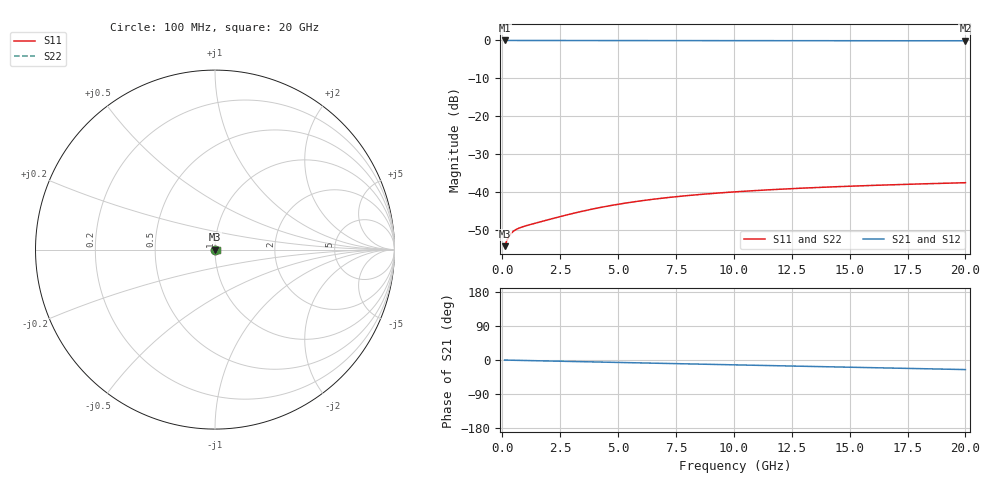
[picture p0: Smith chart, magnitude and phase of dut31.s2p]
! Touchstone file exported from HFSS 2026.1.0
!  File:  C:/ffzhzh/LocalFiles/Ansys_Project_Files/temp_train_TMRDL_31_1782880498_13352.aedt
!  Generated:  12:36:04 PM Jul  1, 2026
!  Design:  TMRDL
!  Project:  temp_train_TMRDL_31_1782880498_13352
! Variables:
!  h_bsmrdl = 2um
!  h_ox = 20um
!  h_rdl = 5um
!  h_sub = 80um
!  h_tmrdl = 3.65um
!  h_tsv = 80um
!  h_via = 3um
!  l_bsmrdl = 300um
!  l_sub = 840.71um
!  l_tmrdl = 440.71um
!  m_sub = 200um
!  pitch = 32.78um
!  r_tsv = 6um
!  s_tmrdl = 10um
!  w_bsmrdl = 18um
!  w_sub = 500um
!  w_tmrdl = 28.02um
!  x_tsv_center1 = 454.72um
!  x_tsv_center2 = 772.72um
!  x_tsv_center3 = 1241.45um
!  x_tsv_center4 = 1559.45um
!  x_tsv_center5 = 2028.18um
!  x_tsv_center6 = 2346.18um
# GHz S MA R 50.000000
! Terminal data exported
! Port[1] = TM_RDL1_1_T1
! Port[2] = TM_RDL1_1_T2
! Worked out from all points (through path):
!   200 points, 100 MHz to 20 GHz, reference 50 ohm
!   highest |S21| = -0.02 dB at 100 MHz (marker M1); lowest = -0.1 dB at 20 GHz (marker M2)
!   group delay of S21, straight-line fit = 3.5 ps
!   lowest |S11| = -54.4 dB at 100 MHz (marker M3), VSWR 1.00, Z = 50.2 + j0.0506 ohm
!   |S11| at or under -10 dB: start of sweep to end of sweep
!   |S22| runs from -54.4 to -37.8 dB; largest |S21 - S12| = 4.1e-15
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0.1  0.001905 15.3  0.9982 -0.2  0.9982 -0.2  0.001905 15.3
! Gamma 0 0 0 0
! Port Impedance 50 0 50 0
0.2  0.002272 22.2  0.9979 -0.3  0.9979 -0.3  0.002273 22.2
0.3  0.002606 23.8  0.9976 -0.4  0.9976 -0.4  0.002605 23.8
0.4  0.002855 23.8  0.9974 -0.6  0.9974 -0.6  0.002854 23.8
0.5  0.003037 23.5  0.9972 -0.7  0.9972 -0.7  0.003034 23.5
0.6  0.003173 23.3  0.9971 -0.8  0.9971 -0.8  0.00317 23.3
0.7  0.003281 23.3  0.997 -1.0  0.997 -1.0  0.003277 23.3
1  0.00353 24.2  0.9968 -1.3  0.9968 -1.3  0.003525 24.2
1.9  0.004194 29.1  0.9964 -2.5  0.9964 -2.5  0.00419 29.2
2.8  0.004945 32.3  0.996 -3.7  0.996 -3.7  0.00494 32.4
3.5  0.005555 33.2  0.9956 -4.6  0.9956 -4.6  0.005548 33.3
4.3  0.006244 33.0  0.9951 -5.6  0.9951 -5.6  0.006233 33.1
5.1  0.006899 31.9  0.9946 -6.6  0.9946 -6.6  0.006884 32.0
5.9  0.00751 30.4  0.9941 -7.6  0.9941 -7.6  0.007489 30.5
6.8  0.00814 28.3  0.9935 -8.8  0.9935 -8.8  0.008112 28.4
7.5  0.008588 26.5  0.993 -9.7  0.993 -9.7  0.008554 26.7
8.3  0.00906 24.4  0.9926 -10.7  0.9926 -10.7  0.009017 24.6
10.1  0.009981 19.6  0.9915 -12.9  0.9915 -12.9  0.009917 19.9
11.7  0.01067 15.5  0.9907 -14.9  0.9907 -14.9  0.01058 15.7
13.4  0.0113 11.2  0.9899 -17.0  0.9899 -17.0  0.01118 11.5
16.7  0.01231 3.3  0.9886 -21.2  0.9886 -21.2  0.01213 3.7
20  0.01315 -4.3  0.9874 -25.3  0.9874 -25.3  0.01288 -3.8
